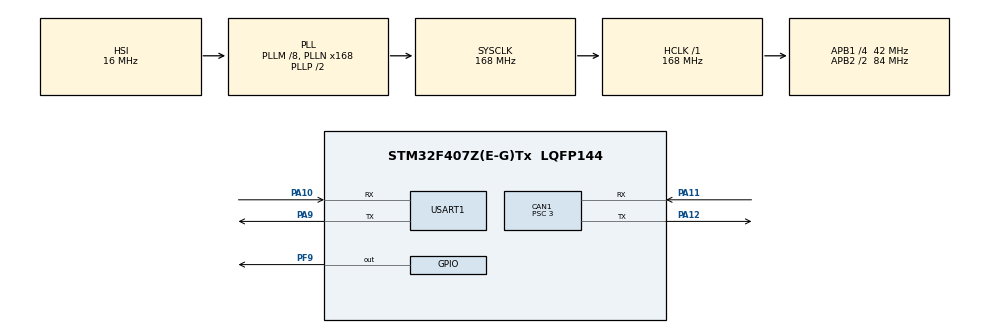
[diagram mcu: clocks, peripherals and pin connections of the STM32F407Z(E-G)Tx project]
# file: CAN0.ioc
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CAN1.BS1=CAN_BS1_9TQ
CAN1.BS2=CAN_BS2_4TQ
CAN1.CalculateBaudRate=1000000
CAN1.CalculateTimeBit=1000
CAN1.CalculateTimeQuantum=71.42857142857143
CAN1.Prescaler=3
Mcu.Family=STM32F4
Mcu.Name=STM32F407Z(E-G)Tx
Mcu.Package=LQFP144
NVIC.CAN1_RX0_IRQn=true\:0\:0\:false\:false\:true\:true\:true\:true
NVIC.CAN1_TX_IRQn=true\:0\:0\:false\:false\:true\:true\:true\:true
NVIC.PriorityGroup=NVIC_PRIORITYGROUP_4
NVIC.USART1_IRQn=true\:0\:0\:false\:false\:true\:true\:true\:true
PA10.Mode=Asynchronous
PA10.Signal=USART1_RX
PA11.Mode=CAN_Activate
PA11.Signal=CAN1_RX
PA12.Mode=CAN_Activate
PA12.Signal=CAN1_TX
PA9.Mode=Asynchronous
PA9.Signal=USART1_TX
PF9.Signal=GPIO_Output
PH0-OSC_IN.Mode=HSE-External-Oscillator
PH0-OSC_IN.Signal=RCC_OSC_IN
PH1-OSC_OUT.Mode=HSE-External-Oscillator
PH1-OSC_OUT.Signal=RCC_OSC_OUT
ProjectManager.HeapSize=0x200
ProjectManager.StackSize=0x400
ProjectManager.TargetToolchain=STM32CubeIDE
RCC.48MHZClocksFreq_Value=84000000
RCC.AHBFreq_Value=168000000
RCC.APB1CLKDivider=RCC_HCLK_DIV4
RCC.APB1Freq_Value=42000000
RCC.APB1TimFreq_Value=84000000
RCC.APB2CLKDivider=RCC_HCLK_DIV2
RCC.APB2Freq_Value=84000000
RCC.APB2TimFreq_Value=168000000
RCC.CortexFreq_Value=168000000
RCC.HCLKFreq_Value=168000000
RCC.HSE_VALUE=25000000
RCC.HSI_VALUE=16000000
RCC.LSE_VALUE=32768
RCC.PLLM=8
RCC.PLLN=168
RCC.SYSCLKFreq_VALUE=168000000
RCC.SYSCLKSource=RCC_SYSCLKSOURCE_PLLCLK
RCC.VCOOutputFreq_Value=336000000
USART1.VirtualMode=VM_ASYNC
board=custom

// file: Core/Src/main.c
/* USER CODE BEGIN Header */
/**
  ******************************************************************************
  * @file           : main.c
  * @brief          : Main program body
  ******************************************************************************
  * @attention
  *
  * Copyright (c) 2024 STMicroelectronics.
  * All rights reserved.
  *
  * This software is licensed under terms that can be found in the LICENSE file
  * in the root directory of this software component.
  * If no LICENSE file comes with this software, it is provided AS-IS.
  *
  ******************************************************************************
  */
/* USER CODE END Header */
#include "main.h"
#include "can.h"
#include "usart.h"
#include "gpio.h"

/* USER CODE BEGIN PV */

#ifdef __GNUC__
#define PUTCHAR_PROTOTYPE int __io_putchar(int ch)
#else
#define PUTCHAR_PROTOTYPE int fputc(int ch, FILE *f)
#endif
  PUTCHAR_PROTOTYPE
  {
    HAL_UART_Transmit(&huart1 , (uint8_t *)&ch, 1, 0xFFFF);
    return ch;
  }
/* USER CODE END PV */

void SystemClock_Config(void);

/* USER CODE BEGIN 0 */
PID_TypeDef motor_pid[4];
int32_t set_spd = 0;
/* USER CODE END 0 */

int main(void)
{

  /* USER CODE BEGIN 1 */
  const uint8_t SendBuffer[4]={0x03,0xFC,0xFC,0x03};  // 帧头
  /* USER CODE END 1 */

  /* MCU Configuration--------------------------------------------------------*/

  /* Reset of all peripherals, Initializes the Flash interface and the Systick. */
  HAL_Init();

  /* Configure the system clock */
  SystemClock_Config();

  /* Initialize all configured peripherals */
  MX_GPIO_Init();
  MX_CAN1_Init();
  MX_USART1_UART_Init();
  /* USER CODE BEGIN 2 */

// ��ʼ��CAN�˲���
my_can_filter_init_recv_all(&hcan1);

// ����CANģ��
if (HAL_CAN_Start(&hcan1) != HAL_OK)
{
    Error_Handler();
}

  // 启用发送完成中断（Mailbox 0、1 和 2）
  if (HAL_CAN_ActivateNotification(&hcan1, CAN_IT_TX_MAILBOX_EMPTY | CAN_IT_RX_FIFO0_MSG_PENDING) != HAL_OK)
  {
    Error_Handler();
  }

  /* USER CODE END 2 */

  /* Infinite loop */
  /* USER CODE BEGIN WHILE */
  set_spd = 2500;  // set speed (rpm)
  for(int i=0; i<4; i++)
  {
    pid_init(&motor_pid[i]);
    motor_pid[i].f_param_init(&motor_pid[i],PID_Speed,16384,5000,10,0,8000,0,1.5,0.05,0);
  }
  while (1)
  {
    /* PID 计算和电流输出 */
    for(int i=0; i<4; i++)
    {
      motor_pid[i].target = set_spd;
      motor_pid[i].f_cal_pid(&motor_pid[i], moto_chassis[i].speed_rpm);    // 根据设定值进行PID计算
    }

    /* 检查发送邮箱空闲状态 */
    uint32_t free_mailboxes = HAL_CAN_GetTxMailboxesFreeLevel(&hcan1);
    if (free_mailboxes > 0)
    {
      /* 发送 CAN 消息 */
      set_moto_current(&hcan1, motor_pid[0].output,
                          motor_pid[1].output,
                          motor_pid[2].output,
                          motor_pid[3].output);
    }
    else
    {
      /* 没有空闲的发送邮箱 */
      uint8_t busy_msg[] = "No free CAN mailboxes. Message not sent.\r\n";
      HAL_UART_Transmit(&huart1, busy_msg, sizeof(busy_msg) - 1, HAL_MAX_DELAY);
    }

    /* UART 输出 */
    uint8_t test_data[] = "UART Test\r\n";
    HAL_UART_Transmit(&huart1, test_data, sizeof(test_data) - 1, HAL_MAX_DELAY);

    printf("Printf Success\r\n");

    HAL_Delay(1000);

    /* USER CODE END WHILE */

    /* USER CODE BEGIN 3 */

    /* PID calculation & motor output */
    /*
    for(int i=0; i<4; i++)
    {
      motor_pid[i].target = set_spd;
      motor_pid[i].f_cal_pid(&motor_pid[i],moto_chassis[i].speed_rpm);    //根据设定值进行PID计算。
    }
    set_moto_current(&hcan1, motor_pid[0].output,   //将PID的计算结果通过CAN发送到电机
                        motor_pid[1].output,
                        motor_pid[2].output,
                        motor_pid[3].output);
    */
  }

  /* USER CODE END 3 */
}

void SystemClock_Config(void)
{
  RCC_OscInitTypeDef RCC_OscInitStruct = {0};
  RCC_ClkInitTypeDef RCC_ClkInitStruct = {0};

  /** Configure the main internal regulator output voltage
  */
  __HAL_RCC_PWR_CLK_ENABLE();
  __HAL_PWR_VOLTAGESCALING_CONFIG(PWR_REGULATOR_VOLTAGE_SCALE1);

  /** Initializes the RCC Oscillators according to the specified parameters
  * in the RCC_OscInitTypeDef structure.
  */
  RCC_OscInitStruct.OscillatorType = RCC_OSCILLATORTYPE_HSI;
  RCC_OscInitStruct.HSIState = RCC_HSI_ON;
  RCC_OscInitStruct.HSICalibrationValue = RCC_HSICALIBRATION_DEFAULT;
  RCC_OscInitStruct.PLL.PLLState = RCC_PLL_ON;
  RCC_OscInitStruct.PLL.PLLSource = RCC_PLLSOURCE_HSI;
  RCC_OscInitStruct.PLL.PLLM = 8;
  RCC_OscInitStruct.PLL.PLLN = 168;
  RCC_OscInitStruct.PLL.PLLP = RCC_PLLP_DIV2;
  RCC_OscInitStruct.PLL.PLLQ = 4;
  if (HAL_RCC_OscConfig(&RCC_OscInitStruct) != HAL_OK)
  {
    Error_Handler();
  }

  /** Initializes the CPU, AHB and APB buses clocks
  */
  RCC_ClkInitStruct.ClockType = RCC_CLOCKTYPE_HCLK|RCC_CLOCKTYPE_SYSCLK
                              |RCC_CLOCKTYPE_PCLK1|RCC_CLOCKTYPE_PCLK2;
  RCC_ClkInitStruct.SYSCLKSource = RCC_SYSCLKSOURCE_PLLCLK;
  RCC_ClkInitStruct.AHBCLKDivider = RCC_SYSCLK_DIV1;
  RCC_ClkInitStruct.APB1CLKDivider = RCC_HCLK_DIV4;
  RCC_ClkInitStruct.APB2CLKDivider = RCC_HCLK_DIV2;

  if (HAL_RCC_ClockConfig(&RCC_ClkInitStruct, FLASH_LATENCY_5) != HAL_OK)
  {
    Error_Handler();
  }
}

void Error_Handler(void)
{
  __disable_irq();
  while (1)
  {
  }
}
